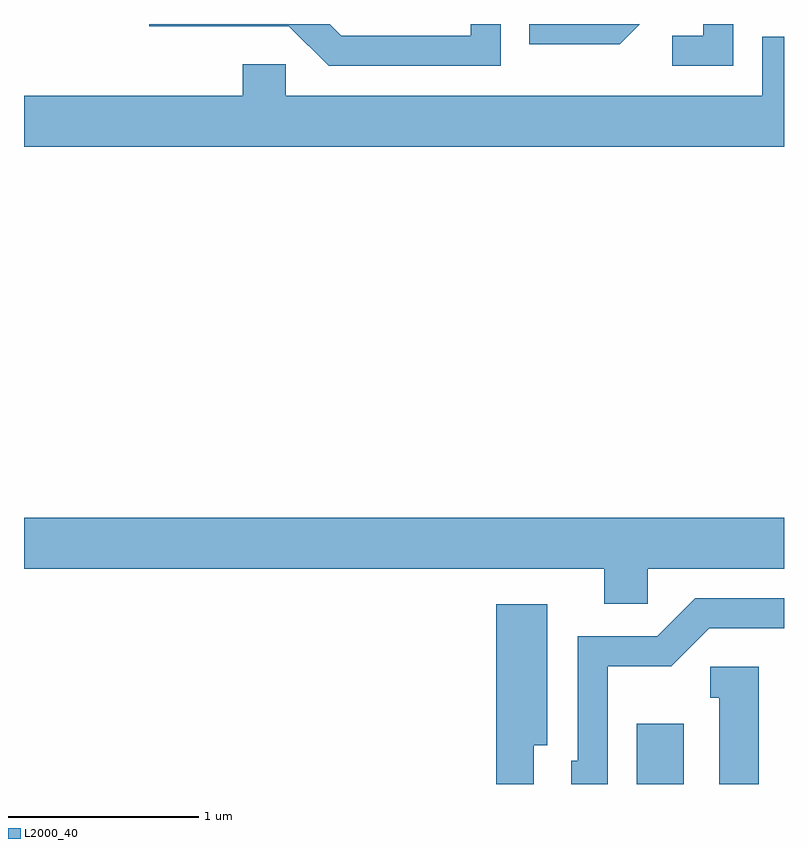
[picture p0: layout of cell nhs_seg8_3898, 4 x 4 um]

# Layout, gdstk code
import gdstk
lib = gdstk.Library(unit=1e-6, precision=1e-09)
def R(c, l, rs):  # rectangles x0, y0, x1, y1
    for r in rs: c.add(gdstk.rectangle(r[:2], r[2:], *l))
def P(c, l, *ps):  # polygons
    for p in ps: c.add(gdstk.Polygon(p, *l))
L2000_40 = (2000, 40)

nhs_seg8_3898 = lib.new_cell('nhs_seg8_3898')
R(nhs_seg8_3898, L2000_40, [(304.836,1886.342,305.084,1886.659)])
P(nhs_seg8_3898, L2000_40, [(304.853,1890.342),(304.271,1890.342),(304.271,1890.236),(304.747,1890.236)],
  [(305.344,1890.342),(305.186,1890.342),(305.186,1890.279),(305.023,1890.279),(305.023,1890.121),(305.344,1890.121)],
  [(304.119,1890.342),(303.961,1890.342),(303.961,1890.279),(303.282,1890.279),(303.219,1890.342),(302.271,1890.342),(302.271,1890.331),(303.004,1890.331),(303.214,1890.121),(304.119,1890.121)],
  [(305.611,1890.274),(305.496,1890.274),(305.496,1889.964),(302.989,1889.964),(302.989,1890.129),(302.761,1890.129),(302.761,1889.964),(301.611,1889.964),(301.611,1889.696),(305.611,1889.696)],
  [(304.894,1887.476),(305.611,1887.476),(305.611,1887.744),(301.611,1887.744),(301.611,1887.476),(304.666,1887.476),(304.666,1887.291),(304.894,1887.291)],
  [(304.684,1886.961),(305.017,1886.961),(305.217,1887.161),(305.611,1887.161),(305.611,1887.319),(305.144,1887.319),(304.944,1887.119),(304.526,1887.119),(304.526,1886.464),(304.491,1886.464),(304.491,1886.342),(304.684,1886.342)],
  [(304.294,1886.546),(304.364,1886.546),(304.364,1887.289),(304.096,1887.289),(304.096,1886.342),(304.294,1886.342)],
  [(305.479,1886.959),(305.223,1886.959),(305.223,1886.796),(305.271,1886.796),(305.271,1886.342),(305.479,1886.342)])

lib.write_gds('nhs_seg8_3898.gds')
